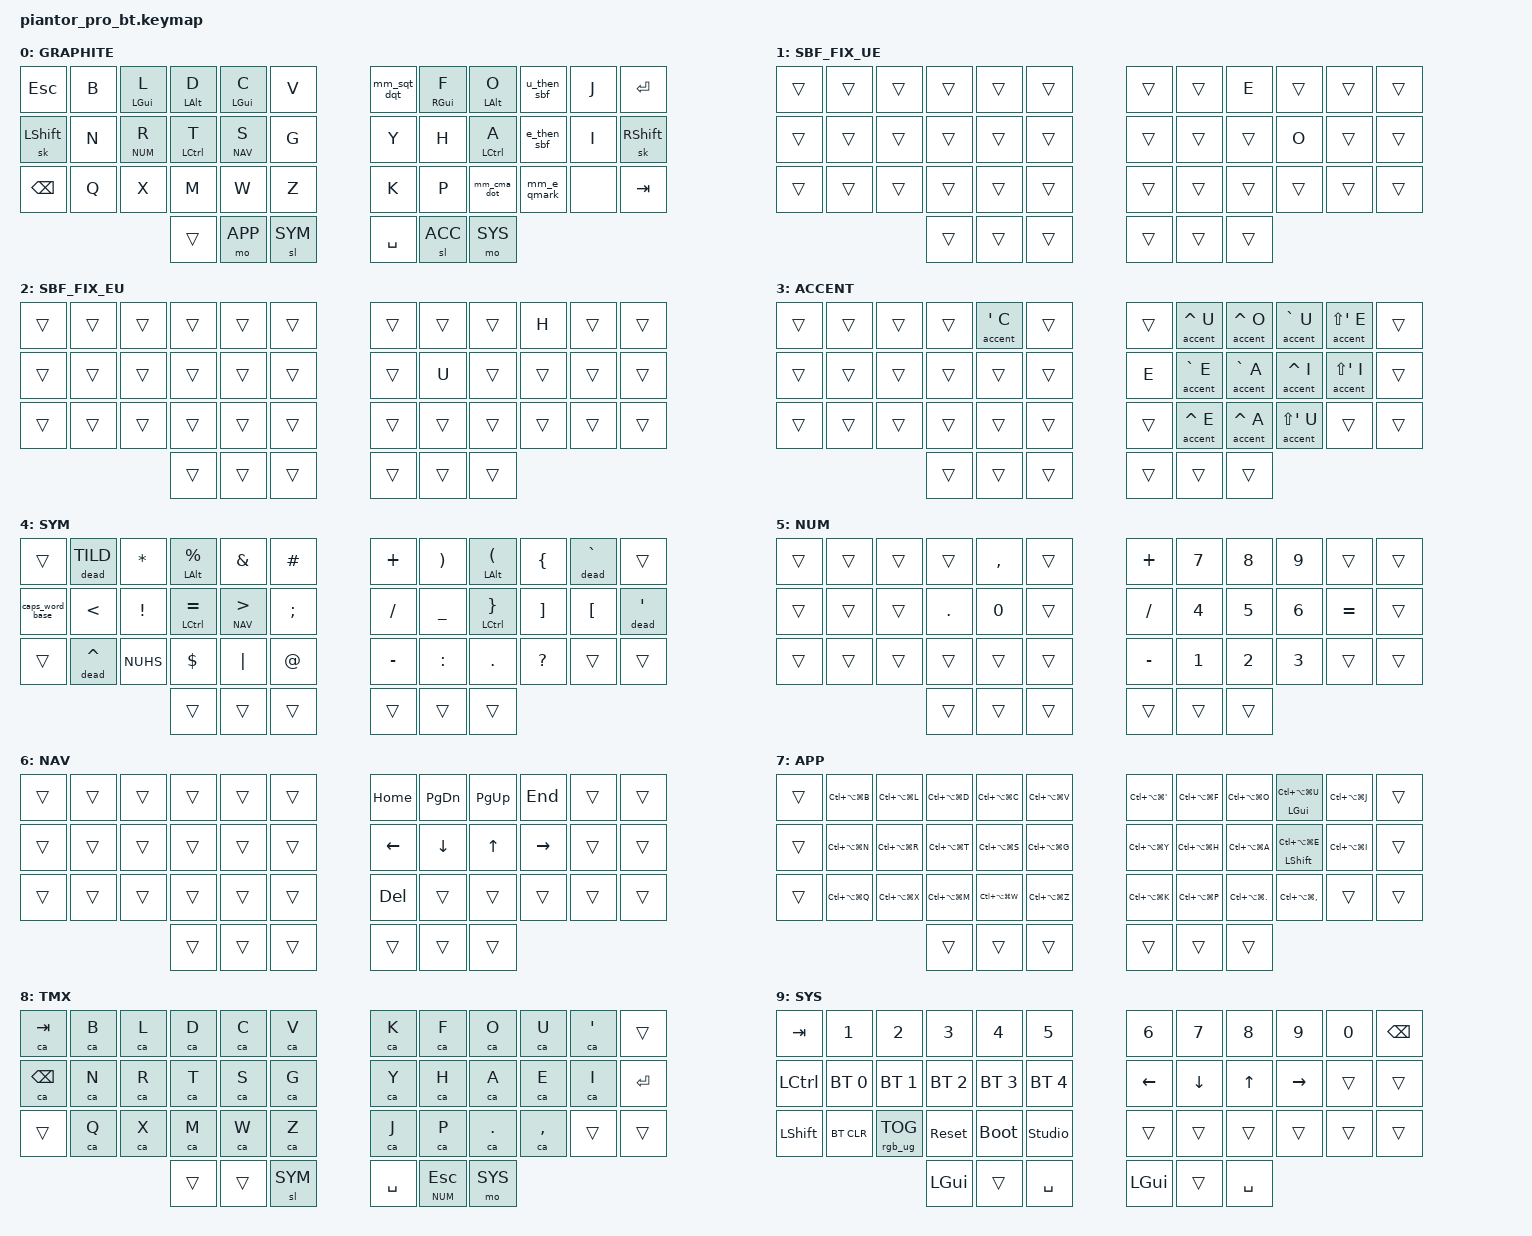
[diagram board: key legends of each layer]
 /*
 * Copyright (c) 2020 The ZMK Contributors
 *
 * SPDX-License-Identifier: MIT
 */


#include <behaviors.dtsi>
#include <dt-bindings/zmk/keys.h>
#include <dt-bindings/zmk/bt.h>
#include <dt-bindings/zmk/rgb.h>

// LAYERS
#define BASE 0
 // Layer to avoid Same finger bigram issues for EU/UE
#define SBF_FIX_UE 1
#define SBF_FIX_EU 2

#define ACC 3
#define SYM 4
#define NUM 5
#define NAV 6
#define APP 7
#define TMX 9
#define SYS 10

// config
#define PRIOR_IDLE 90
#define TAPPING_TERM 160
#define QUICK_TAP 150

&sl {
    release-after-ms = <500>;
};

&sk {
    release-after-ms = <500>;
    quick-release;
};

&caps_word {
    continue-list = <UNDERSCORE MINUS DOT BSPC>;
};

/ {
    chosen {
        zmk,physical-layout = &default_layout;
    };
};

/ {
    behaviors {
        // the home-row hold-tap to flavor "balanced" (Waits for tapping-term-ms before deciding. Safe, but sometimes feels laggy.)
        hm: home_row_mod {
            compatible = "zmk,behavior-hold-tap";
            #binding-cells = <2>;
            flavor = "balanced";
            bindings = <&kp>, <&kp>;
            require-prior-idle-ms = <PRIOR_IDLE>;
            tapping-term-ms = <TAPPING_TERM>;
            quick-tap-ms = <QUICK_TAP>;
        };

        // the home-row layer-tap to flavor "balanced" (Waits for tapping-term-ms before deciding. Safe, but sometimes feels laggy.)
	// the default &lt could be good as well?
	hl: home_row_layer {
            compatible = "zmk,behavior-hold-tap";
            #binding-cells = <2>;
            flavor = "balanced";
            bindings = <&mo>, <&kp>;
            require-prior-idle-ms = <PRIOR_IDLE>;
            tapping-term-ms = <TAPPING_TERM>;
            quick-tap-ms = <QUICK_TAP>;
        };

	// hold-tap to fravor "hold-preferred" (If another key is pressed before the timer expires, it chooses hold) useful to type Layer NUM instead of ESC
	lt_hp: lt_hold_preferred {
            compatible = "zmk,behavior-hold-tap";
            #binding-cells = <2>;
            flavor = "hold-preferred";
            tapping-term-ms = <200>;
            bindings = <&mo>, <&kp>;
        };

	// home-row mod with dead key on tap (2-key sequence). Uselfu for NAV layer on symbols dead key " 
	hm_dead: home_row_mod_dead {
            compatible = "zmk,behavior-hold-tap";
            #binding-cells = <2>;
            flavor = "balanced";
            bindings = <&kp>, <&dead>;
            require-prior-idle-ms = <PRIOR_IDLE>;
            tapping-term-ms = <TAPPING_TERM>;
            quick-tap-ms = <QUICK_TAP>;
        };

	// home-row layer with dead key on tap (2-key sequence)
	hl_dead: home_row_layer_dead {
            compatible = "zmk,behavior-hold-tap";
            #binding-cells = <2>;
            flavor = "balanced";
            bindings = <&mo>, <&dead>;
            require-prior-idle-ms = <PRIOR_IDLE>;
            tapping-term-ms = <TAPPING_TERM>;
            quick-tap-ms = <QUICK_TAP>;
        };



	 // temporary test to keep comma active whatever shift is hold or not
        // key = `,`, on shift hold = .
        mm_cma_dot: mm_comma_to_dot {
            compatible = "zmk,behavior-mod-morph";
            #binding-cells = <0>;
            // react when either Shift is held:
            mods = <(MOD_LSFT|MOD_RSFT)>;
            // no shift -> ",", with shift -> "/"
            bindings = <&kp COMMA>, <&kp DOT>;
            // ensure the Shift you hold stays applied to the "/" press
            // keep-mods = <(MOD_LSFT|MOD_RSFT)>;
        };


	 // temporary test to keep comma active whatever shift is hold or not
        // key = `,`, on shift hold = .
        mm_e_qmark: mm_e_accent_question_mark {
            compatible = "zmk,behavior-mod-morph";
            #binding-cells = <0>;
            // react when either Shift is held:
            mods = <(MOD_LSFT|MOD_RSFT)>;
            // no shift -> "é", with shift -> "?"
            bindings = <&accent SQT E>, <&kp QMARK>;
            // ensure the Shift you hold stays applied to the "/" press
            // keep-mods = <(MOD_LSFT|MOD_RSFT)>;
        };

	 // temporary test to keep comma active whatever shift is hold or not
	 // to be removd as now I want it to be " on shift
        // key = `'`, on shift hold = _
        mm_sqt_dqt: mm_quote_to_doublequote {
            compatible = "zmk,behavior-mod-morph";
            #binding-cells = <0>;
            // react when either Shift is held:
            mods = <(MOD_LSFT|MOD_RSFT)>;
            // no shift -> `'`, with shift -> `"`
            bindings = <&dead SQT>, <&dead DQT>;
            // ensure the Shift you hold stays applied to the "/" press
            // keep-mods = <(MOD_LSFT|MOD_RSFT)>;
        };

        // U with SBF fix layer - but only when no mods are active
        u_then_sbf: u_mod_morph {
            compatible = "zmk,behavior-mod-morph";
            #binding-cells = <0>;
            mods = <(MOD_LCTL|MOD_RCTL|MOD_LALT|MOD_RALT|MOD_LGUI|MOD_RGUI)>;
            bindings = <&u_then_sbf_macro>, <&kp U>;
            keep-mods = <(MOD_LSFT|MOD_RSFT|MOD_LCTL|MOD_RCTL|MOD_LALT|MOD_RALT|MOD_LGUI|MOD_RGUI)>;
        };

        // E with SBF fix layer - but only when no mods are active
        e_then_sbf: e_mod_morph {
            compatible = "zmk,behavior-mod-morph";
            #binding-cells = <0>;
            mods = <(MOD_LCTL|MOD_RCTL|MOD_LALT|MOD_RALT|MOD_LGUI|MOD_RGUI)>;
            bindings = <&e_then_sbf_macro>, <&kp E>;
            keep-mods = <(MOD_LSFT|MOD_RSFT|MOD_LCTL|MOD_RCTL|MOD_LALT|MOD_RALT|MOD_LGUI|MOD_RGUI)>;
        };

   };
};

/ {
    macros {
        dead: dead {
            compatible = "zmk,behavior-macro-one-param";
            #binding-cells = <1>;

	    // Make the macro complete quickly: (next try would be tap-ms=15, wait-ms=5)
            wait-ms = <0>;   // no delay between bindings
            tap-ms  = <1>;  // very short press duration

            bindings
                = <&macro_param_1to1>
		, <&kp MACRO_PLACEHOLDER> // no delay between bindings
		, <&kp SPACE>
                ;
        };

	accent: dead_accent {
            compatible = "zmk,behavior-macro-two-param";
            #binding-cells = <2>;

	    // Make the macro complete quickly: (next try would be tap-ms=15, wait-ms=5)
            wait-ms = <0>;   // no delay between bindings
            tap-ms  = <1>;  // very short press duration (tweak 10–20)

            bindings
                = <&macro_param_1to1>
		, <&kp MACRO_PLACEHOLDER> // no delay between bindings
		, <&macro_param_2to1>
		, <&kp MACRO_PLACEHOLDER>
                ;
        };

	// TODO: adapt TMX and UNKNOWN as APP then remove
        as: alt_shift {
		compatible = "zmk,behavior-macro-one-param";
		#binding-cells = <1>;
		// Give the OS time to see the modifiers before/after the tap
		wait-ms = <35>;   // delay between each action
		tap-ms  = <50>;   // how long the "tap" is held

		bindings = <&macro_param_1to1>
			, <&macro_press &kp LSHFT &kp LALT>
			, <&macro_tap &kp G> // TEST
			, <&macro_release &kp LSHFT &kp LALT>;
        };
        ca: ctrl_alt {
		compatible = "zmk,behavior-macro-one-param";
		#binding-cells = <1>;
		// Give the OS time to see the modifiers before/after the tap
		wait-ms = <35>;   // delay between each action
		tap-ms  = <50>;   // how long the "tap" is held

		bindings = <&macro_param_1to1>
			, <&macro_press &kp LCTRL &kp LALT>
			, <&macro_tap &kp MACRO_PLACEHOLDER>
			, <&macro_release &kp LCTRL &kp LALT>;
        };

	u_then_sbf_macro: u_then_sbf_macro {
		compatible = "zmk,behavior-macro";
		#binding-cells = <0>;

		wait-ms = <0>;   // no delay between bindings
		tap-ms  = <10>;  // very short press duration (tweak 10–20)
		          // Send 'U', then enable a one-shot layer for the next key press
		bindings = <&kp U>, <&sl SBF_FIX_UE>;
        };

	e_then_sbf_macro: e_then_sbf_macro {
		compatible = "zmk,behavior-macro";
		#binding-cells = <0>;

		wait-ms = <0>;   // no delay between bindings
		tap-ms  = <10>;  // very short press duration (tweak 10–20)
		          // Send 'E', then enable a one-shot layer for the next key press
		bindings = <&kp E>, <&sl SBF_FIX_EU>;
        };

	osm: one_shot_macro {
	    compatible = "zmk,behavior-macro-one-param";
	    #binding-cells = <1>;
	    wait-ms = <0>;
	    tap-ms = <0>; // shorten as possible?
	    bindings = 
		// <&to BASE>,              // Clear all layers first
		<&macro_param_1to1>,
		<&sl MACRO_PLACEHOLDER>; // Activate as sticky layer
	};

	 caps_word_base: caps_word_base {
            compatible = "zmk,behavior-macro";
            #binding-cells = <0>;
            bindings = <&caps_word>, <&to BASE>;
        };

    };
};

/ {
    keymap {
        compatible = "zmk,keymap";

        default_layer {
            display-name = "GRAPHITE";

 	// MODIFIERS/LAYERS --------------------------------------------------------------
	// |      |     |(GUI)| ALT | GUI |       |       | GUI | ALT | --- |     |      |
	// | SHFT |     |(NUM)| CTL | NAV |       |       | NUM | CTL | --- |     | SHFT |
	// |      |     |     |     |     |       |       |     |     |     |     |      |
 	// THUMBS ------------------------------------------------------------------------
	//          |  WIN   | SYMBOL |   -----    |     SPACE  | ACCENT | SYSTEM  |


	// GRAPHITE -----------------------------------------------------------------------
	// | SFT |  B  |  L  |  D  |  C  |  V   |  '/" |  F  |  O  |  U  |  J  | SFT  |
	// | ESC |  N  |  R  |  T  |  S  |  G   |   Y  |  H  |  A  |  E  |  I  | RET  |
	// | BSP |  Q  |  X  |  M  |  W  |  Z   |   K  |  P  | ,/. | é/? | --- | TAB  | 
           bindings = <
                &kp ESC     &kp B &hm LGUI L &hm LALT D  &hm LGUI C  &kp V           &mm_sqt_dqt &hm RGUI F &hm LALT O  &u_then_sbf   &kp J    &kp RET
                &sk LSHFT   &kp N &hl NUM R &hm LCTRL T &hl NAV S   &kp G           &kp Y        &kp H      &hm LCTRL A &e_then_sbf     &kp I    &sk RSHFT
                &kp BSPC    &kp Q &kp X      &kp M       &kp W       &kp Z           &kp K       &kp P      &mm_cma_dot &mm_e_qmark &none    &kp TAB
                                           &trans &mo APP  &sl SYM                       &kp SPACE &sl ACC  &mo SYS
            >;

        };

	
        // #1
        ue_sbf_fix {
            display-name = "SBF_FIX_UE";
            bindings = <
                &trans   &trans &trans &trans &trans &trans            &trans &trans &kp E  &trans &trans   &trans
                &trans   &trans &trans &trans &trans &trans            &trans &trans &trans &kp O  &trans   &trans
                &trans   &trans &trans &trans &trans &trans            &trans &trans &trans &trans &trans   &trans
                                  &trans &trans &trans                     &trans &trans &trans
            >;
        };



        // #2
        eu_sbf_fix {
            display-name = "SBF_FIX_EU";
            bindings = <
                &trans   &trans &trans &trans &trans &trans            &trans &trans &trans &kp H  &trans   &trans
                &trans   &trans &trans &trans &trans &trans            &trans &kp U  &trans &trans &trans   &trans
                &trans   &trans &trans &trans &trans &trans            &trans &trans &trans &trans &trans   &trans
                                  &trans &trans &trans                    &trans &trans &trans
            >;
        };


        // #3
        accent_layer {
            display-name = "ACCENT";
	// ACCENT ---------------------------------------------------------------
	// |      |     |     |     |  Ç  |       |       |  Û  |  Ô  |  Ù  |  Ë  |      |
	// |      |     |     |     |     |       |    E  |  È  |  À  |  Î  |  Ï  |      |
	// |      |     |     |     |     |       |       |  Ê  |  Â  |  Ü  |     |      |
            bindings = <
                &trans   &trans &trans &trans &accent SQT C &trans              &trans &accent CARET U &accent CARET O &accent GRAVE U &accent LS(SQT) E   &trans
                &trans   &trans &trans &trans &trans        &trans              &kp E  &accent GRAVE E &accent GRAVE A &accent CARET I &accent LS(SQT) I   &trans
                &trans   &trans &trans &trans &trans        &trans              &trans &accent CARET E &accent CARET A &accent LS(SQT) U &trans          &trans
                        	   &trans &trans &trans                      &trans &trans &trans
            >;
        };

	 // TEST: accented words
// prévenir|prévoir|déjà|début|décider|décision|déclaration|déclarer|décorer|découvrir|décrire|dédier|défaire|à|là|déjà|voilà|au-delà|çà|holà|où-là|deçà|mère|bibliothèque|fièvre|problème|crème|lumière|sèche|poète|rivière|règle|pièce|mystère|chèvre|colère|modèle|prière|sorcière|brève|atmosphère|frontière|lèvre|fidèle|sirène|mèche|dernière|critère|zèbre|misère|prophète|sphère|ulcère|caractère|poussière|sincère|manège|première|flèche|nièce|système|piège|stratège|matière|austère|parallèle|paupière|sévère|cimetière|thème|fougère|repère|trèfle|chimère|artère|entière|siècle|collègue|ère|gène|grève|scène|complète|chère|arrière|vipère|fière|père|critère|frère|sèche|discrète|concrète|secrète|fête|ancêtre|fenêtre|forêt|tête|bête|crêpe|rêve|prêt|guêpe|tempête|arête|même|êtes|prêtre|conquête|requête|enquête|empêcher|gêne|extrême|honnête|arrêt|intérêt|vêtement|pêche|rêveur|entêté|bêtise|crête|champêtre|grêle|mêler|prêter|rêverie|empêtré|êtres|dépêche|hêtre|salpêtre|enchevêtré|revêtir|chevêche|prêtresse|maraîchère|fraîche|chaîne|connaître|paraître|naître|disparaître|croître|maître|traître|entraîner|enchaîner|apparaître|reconnaître|maîtrise|maîtresse|plaître|accroître|clôture|entrepôt|apôtre|rôle|contrôle|drôle|côte|hôtel|fantôme|diplôme|symptôme|arôme|icône|trône|dôme|pôle|tôle|pylône|aumône|côtelette|rôtir|frôler|tantôt|bientôt|plutôt|aussitôt|ôter|dépôt|impôt|prévôt|hôpital|hôtesse|île|dîner|gîte|abîme|épître|huître|bûche|flûte|brûler|croûte|voûte|goûter|coût|jeûne|mûr|sûr|piqûre|français|façon|garçon|leçon|maçon|façade|reçu|déçu|aperçu|glaçon|balançoire|commerçant|remplaçant|grinçant|fiançailles|gerçure|pinçant|soupçon|rançon|tronçon|limaçon|colimaçon|hameçon|glaçage|traçage|perçant|lançant|effaçant|berçant|dîner|chaîne|maître|connaître|paraître|île|boîte|fraîche|traître|croître|château|âge|pâte|théâtre|âme|gâteau|tâche|bâtiment|grâce|mâcher|bâton|râler|lâche|pâle|câble|mâle|âpre|infâme|hôtel|côte|drôle|tôt|bientôt|rôle|contrôle|hôpital|fantôme|dôme|rôti|pôle|clôture|apôtre|nôtre|vôtre|diplôme|symptôme|clôture|où|sûr|mûr|flûte|coût|goût|août|dû|brûler|bûche|piqûre|fûr|sûreté|naïf|naïve|naïvement|naïveté|maïs|haïr|haï|haïssons|ouïe|ouïr|inouï|aïeul|aïeux|aïe|faïence|laïc|laïque|laïcité|égoïste|égoïsme|héroïne|héroïque|héroïsme|stoïque|stoïcisme|archaïque|prosaïque|judaïque|mosaïque|astéroïde|paranoïde|thyroïde|trapézoïde|coïncidence|coïncider|Noël|canoë|contiguë|Raphaël|aigüe|ambigüe|contigüe|exigüe|cigüe



        // #4
        symbol_layer {
            display-name = "SYM";
	// SYMBOL ------------------------------------------------------------------------
	// |      |  ~  |  *  |  %  |  &  |  #    |    +  |  )  |  (  |  {  |  `  |      |
	// | CAPS |  <  |  !  |  =  |  >  |  ;    |    /  |  _  |  }  |  ]  |  [  |  '   |
	// |      |  ^  |  \  |  $  |  |  |  @    |    -  |  :  |  .  |  ?  |     |      |
            bindings = <
                &trans           &dead TILD  &kp STAR  &hm LALT PRCNT  &kp AMPS     &kp HASH             &kp PLUS  &kp RPAR   &hm LALT LPAR  &kp LBRC &dead GRAVE    &trans
                &caps_word_base  &kp LT      &kp EXCL  &hm LCTRL EQL   &hl NAV GT   &kp SEMI             &kp SLASH &kp UNDER  &hm LCTRL RBRC &kp RBKT &kp LBKT       &dead SQT
                &trans           &dead CARET &kp NUHS  &kp DLLR        &kp PIPE     &kp AT               &kp MINUS &kp COLN   &kp DOT        &kp QMARK &trans        &trans
                                                      	      &trans &trans &trans              	         &trans &trans &trans
            >;
        };

	// TEST: symbols:
// <>
// </>
// ?.
// ?:
// !=
// /* 
// */
// ();
// ('      
// ')      
// ({
// })
// \['
// ']
// =>
// <=
// >=
// ->
// ="
// ~/
// +=
// -=
// ../
// ):
// % / # * $ _ :
// farm_season_field
// paths: ["./src", "./lib", "../shared"],
// },

        // #5
        number_layer {
            display-name = "NUM";
	/* NUMBER ------------------------------------------------------------------------ */
	/* |      |     |     |     |     |       ||    +  |  7  |  8  |  9  |     |      | */
	/* |      |     | NUM |  .  |  0  |       ||    /  |  4  |  5  |  6  |  =  |      | */
	/* |      |     |     |     |     |       ||    -  |  1  |  2  |  3  |     |      | */
            bindings = <
                &trans &trans &trans &trans  &kp COMMA &trans       &kp PLUS  &kp N7 &kp N8 &kp N9 &trans  &trans
                &trans &trans &trans &kp DOT  &kp N0   &trans       &kp SLASH &kp N4 &kp N5 &kp N6 &kp EQL &trans
                &trans &trans &trans &trans  &trans    &trans       &kp MINUS &kp N1 &kp N2 &kp N3 &trans  &trans
                                  &trans &trans &trans                     &trans &trans &trans
            >;
        };

        // #6
        nav_layer {
            display-name = "NAV";
	/* NAV Layer suggestion: */
	/* |       |     |     |     |     |      || Home | PgDn | PgUp | End  |     |      | */
	/* |       |     |     |     |     |      || Left | Down | Up   | Right|     |      | */
	/* |       |     |     |     |     |      || (Del)|      |      |      |     |      | */
            bindings = <
                &trans &trans &trans &trans &trans &trans    &kp HOME &kp PG_DN &kp PG_UP &kp END   &trans &trans
                &trans &trans &trans &trans &trans &trans    &kp LEFT &kp DOWN  &kp UP    &kp RIGHT &trans &trans
                &trans &trans &trans &trans &trans &trans    &kp DEL  &trans    &trans    &trans    &trans &trans
                                  &trans &trans &trans          &trans &trans &trans
            >;
        };

        // #7 C-A-S-<key>
        app_layer {
            display-name = "APP";
            bindings = <
                &trans   &kp LC(LA(LG(B))) &kp LC(LA(LG(L))) &kp LC(LA(LG(D))) &kp LC(LA(LG(C))) &kp LC(LA(LG(V)))           &kp LC(LA(LG(SQT)))   &kp LC(LA(LG(F)))   &kp LC(LA(LG(O)))   &hm LGUI LC(LA(LG(U)))  &kp LC(LA(LG(J))) &trans
                &trans   &kp LC(LA(LG(N))) &kp LC(LA(LG(R))) &kp LC(LA(LG(T))) &kp LC(LA(LG(S))) &kp LC(LA(LG(G)))           &kp LC(LA(LG(Y)))   &kp LC(LA(LG(H)))   &kp LC(LA(LG(A)))   &hm LSHFT LC(LA(LG(E))) &kp LC(LA(LG(I)))   &trans
                &trans   &kp LC(LA(LG(Q))) &kp LC(LA(LG(X))) &kp LC(LA(LG(M))) &kp LC(LA(LG(W))) &kp LC(LA(LG(Z)))           &kp LC(LA(LG(K)))   &kp LC(LA(LG(P)))   &kp LC(LA(LG(DOT))) &kp LC(LA(LG(COMMA)))   &trans              &trans
                       							         &trans     &trans     &trans                   &trans     &trans     &trans
            >;
        };

        // #9 C-A-<key>
        tmux_layer {
            display-name = "TMX";
            bindings = <
                &ca TAB    &ca B &ca L &ca D &ca C &ca V           &ca K   &ca F   &ca O   &ca U     &ca SQT &trans
                &ca BSPC   &ca N &ca R &ca T &ca S &ca G           &ca Y   &ca H   &ca A   &ca E     &ca I   &kp RET
                &trans     &ca Q &ca X &ca M &ca W &ca Z           &ca J   &ca P   &ca DOT &ca COMMA &trans  &trans
                       &trans     &trans     &sl SYM                   &kp SPACE     &lt_hp NUM ESC     &mo SYS
            >;
        };

        // #10
        system_layer {
            display-name = "SYS";
            // -----------------------------------------------------------------------------------------
            // |  TAB |  1  |  2  |  3  |  4  |  5            |  6  |  7  |  8  |  9  |  0  | BSPC |
            // | CTRL | BT1 | BT2 | BT3 | BT4 | BT5           | LFT | DWN |  UP | RGT |     |      |
            // | SHFT | BTCR| RGB | RST | BOOT| Studio Unlock |     |     |     |     |     |      |
            //                          | GUI |     | SPC     |    ENT |     | ALT |
            bindings = <
                &kp TAB   &kp N1       &kp N2          &kp N3       &kp N4       &kp N5         &kp N6   &kp N7   &kp N8 &kp N9    &kp N0 &kp BSPC
                &kp LCTRL &bt BT_SEL 0 &bt BT_SEL 1    &bt BT_SEL 2 &bt BT_SEL 3 &bt BT_SEL 4   &kp LEFT &kp DOWN &kp UP &kp RIGHT &trans &trans
                &kp LSHFT &bt BT_CLR   &rgb_ug RGB_TOG &sys_reset   &bootloader  &studio_unlock &trans   &trans   &trans &trans    &trans &trans
                                                       &kp LGUI     &trans       &kp SPACE      &kp LGUI &trans   &kp SPACE
            >;
        };
    };
};












